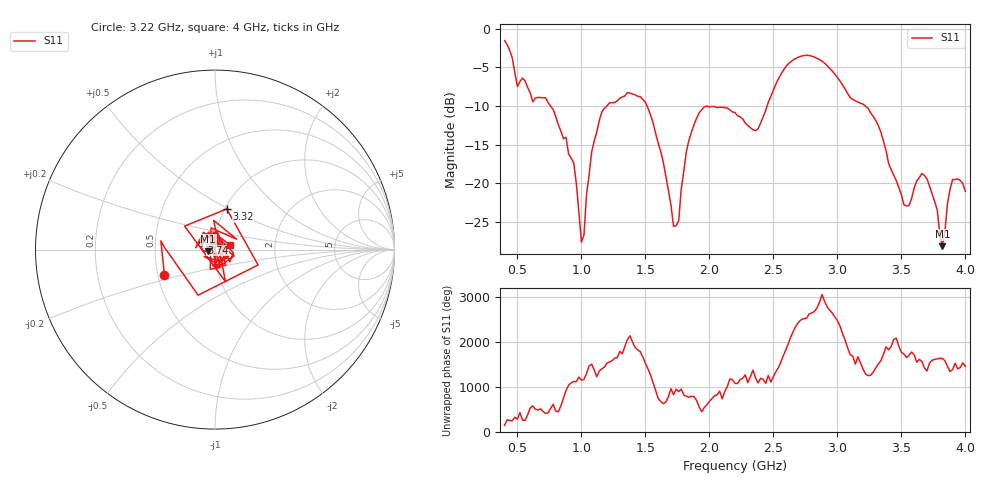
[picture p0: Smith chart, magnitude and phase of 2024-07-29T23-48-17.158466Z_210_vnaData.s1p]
!Created with skrf (http://scikit-rf.org).
# Hz S RI R 50.0
!freq ReS11 ImS11
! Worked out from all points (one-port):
!   181 points, 400 MHz to 4 GHz, reference 50 ohm
!   lowest |S11| = -28.2 dB at 3.82 GHz (marker M1), VSWR 1.08, Z = 46.3 - j0.847 ohm
!   |S11| at or under -10 dB: 758.8 MHz to 1.199 GHz (440.1 MHz wide, 45 % of centre); 1.513 GHz to 2.451 GHz (938.1 MHz wide, 47.3 % of centre); 3.218 GHz to end of sweep
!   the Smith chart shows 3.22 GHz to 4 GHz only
!   S11 on the Smith chart (normalised r, x): 3.22 GHz: 0.54, -0.17; 3.32 GHz: 1.02, +0.49; 3.74 GHz: 0.86, +0.07; 4 GHz: 1.19, +0.06
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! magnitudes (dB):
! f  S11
! 400 MHz  -1.5
! 500 MHz  -7.5
! 720 MHz  -8.9
! 860 MHz  -14.2
! 940 MHz  -17.4
! 1 GHz  -27.6
! 1.08 GHz  -16.0
! 1.14 GHz  -11.9
! 1.3 GHz  -9.0
! 1.5 GHz  -9.5
! 1.64 GHz  -17.3
! 1.72 GHz  -25.6
! 1.76 GHz  -24.9
! 1.82 GHz  -15.9
! 1.92 GHz  -10.9
! 2.2 GHz  -10.8
! 2.38 GHz  -12.9
! 2.66 GHz  -4.0
! 2.88 GHz  -4.2
! 3.1 GHz  -8.9
! 3.22 GHz  -10.0
! 3.32 GHz  -12.6
! 3.56 GHz  -22.9
! 3.66 GHz  -18.7
! 3.74 GHz  -21.4
! 3.82 GHz  -28.2
! 3.9 GHz  -19.5
! 4 GHz  -21.1
